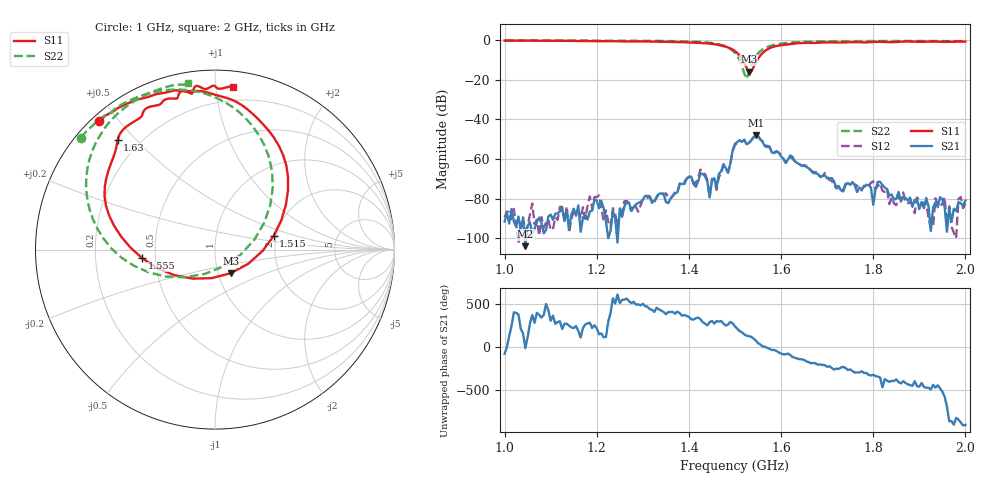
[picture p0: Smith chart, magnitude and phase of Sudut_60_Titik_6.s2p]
# Hz S RI R 50
! CMT, C1220, 16058040, 17.2.0/1
! Date: 14/08/2018 12:20:38
! Data: Format (Calibration Info)
! Freq  S11: Re/Im (F2)  S21: Re/Im (F2)  S12: Re/Im (F2)  S22: Re/Im (F2)
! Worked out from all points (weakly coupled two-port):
!   201 points, 1 GHz to 2 GHz, reference 50 ohm
!   highest |S21| = -47.92 dB at 1.545 GHz (marker M1); lowest = -103.9 dB at 1.045 GHz (marker M2)
!   lowest |S11| = -16.0 dB at 1.53 GHz (marker M3), VSWR 1.37, Z = 57.4 - j15.4 ohm
!   |S11| at or under -10 dB: 1.516 GHz to 1.549 GHz (32.24 MHz wide, 2.1 % of centre)
!   |S22| runs from -19.6 to -0.2 dB; largest |S21 - S12| = 0.00026
!   S11 on the Smith chart (normalised r, x): 1 GHz: 0.02, +0.45; 1.515 GHz: 1.93, +0.33; 1.555 GHz: 0.42, -0.05; 1.63 GHz: 0.12, +0.44; 2 GHz: 0.11, +1.11
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1e9  -0.644 0.7161  6.64e-06 -2.58e-05  3.28e-05 -8.86e-06  -0.7481 0.624
1.045e9  -0.6105 0.746  6.26e-06 -1.21e-06  1.52e-05 8.88e-07  -0.7169 0.6573
1.17e9  -0.4647 0.8233  -2.46e-05 -2.24e-05  -3.05e-05 -5.31e-05  -0.6115 0.7483
1.335e9  -0.1966 0.8851  2.95e-05 0.00013  8.85e-05 0.000101  -0.3968 0.8621
1.425e9  0.0864 0.8377  0.000337 -0.000246  0.000394 -0.000376  -0.1149 0.8829
1.445e9  0.1651 0.7935  3.65e-05 -0.000101  -3.1e-06 -0.000111  -0.00551 0.851
1.45e9  0.1872 0.776  0.000163 -0.00024  0.000213 -0.000235  0.0265 0.8365
1.46e9  0.2393 0.7282  0.000102 -0.000166  6.97e-05 -0.000153  0.095 0.7961
1.475e9  0.3289 0.623  2.77e-05 -0.000748  3.59e-05 -0.000702  0.2045 0.6935
1.485e9  0.3798 0.5264  -5.09e-05 -0.000452  2.92e-06 -0.000453  0.2738 0.5842
1.5e9  0.4067 0.3305  -0.00121 -0.0021  -0.00114 -0.00197  0.3217 0.3451
1.515e9  0.3271 0.0767  -0.00269 0.000387  -0.00271 0.000283  0.2196 0.0554
1.53e9  0.0874 -0.1313  -0.00156 0.00198  -0.0016 0.002  -0.058 -0.1358
1.545e9  -0.2276 -0.1418  0.000822 0.00393  0.000746 0.00391  -0.37 -0.1265
1.555e9  -0.4044 -0.0489  0.00269 0.00154  0.00269 0.00168  -0.5223 -0.0441
1.63e9  -0.5421 0.6119  -0.000479 -0.000729  -0.000422 -0.000775  -0.6862 0.5416
1.67e9  -0.4217 0.731  -0.000444 2.03e-05  -0.000465 1.9e-05  -0.619 0.6701
1.73e9  -0.3074 0.8084  -9.05e-05 0.000136  -6.01e-05 0.000141  -0.5208 0.7754
1.8e9  -0.199 0.8714  5.47e-05 4.45e-05  0.000247 0.00012  -0.4184 0.8455
1.815e9  -0.1746 0.8841  0.000264 3.79e-05  0.000245 -2.04e-05  -0.3979 0.8569
1.835e9  -0.1339 0.8691  8.93e-05 -7.98e-05  3.68e-05 -6.24e-05  -0.3712 0.8698
2e9  0.0991 0.9036  -8.96e-05 3.06e-06  -6.75e-05 3.35e-05  -0.1495 0.9277
